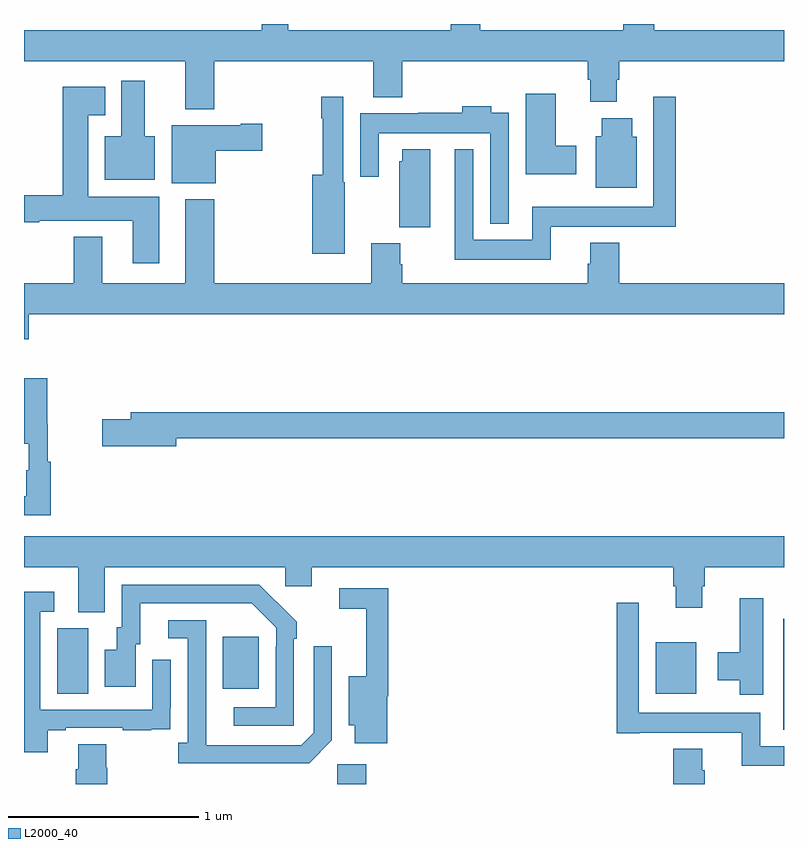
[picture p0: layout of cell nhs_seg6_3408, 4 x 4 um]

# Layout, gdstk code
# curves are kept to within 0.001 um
import gdstk
lib = gdstk.Library(unit=1e-6, precision=1e-09)
def R(c, l, rs):  # rectangles x0, y0, x1, y1
    for r in rs: c.add(gdstk.rectangle(r[:2], r[2:], *l))
def P(c, l, *ps):  # polygons
    for p in ps: c.add(gdstk.Polygon(p, *l))
L2000_40 = (2000, 40)

nhs_seg6_3408 = lib.new_cell('nhs_seg6_3408')
R(nhs_seg6_3408, L2000_40, [(312.648,975.5,312.8,975.604), (314.997,975.785,315,976.369), (314.324,975.974,314.539,976.246), (311.174,975.976,311.338,976.32), (312.047,976.001,312.235,976.276)])
P(nhs_seg6_3408, L2000_40, [(312.002,979.304),(312.839,979.304),(312.839,979.115),(312.992,979.115),(312.992,979.304),(313.967,979.304),(313.967,979.206),(313.979,979.206),(313.979,979.092),(314.119,979.092),(314.119,979.206),(314.132,979.206),(314.132,979.304),(315,979.304),(315,979.468),(314.318,979.468),(314.318,979.5),(314.153,979.5),(314.153,979.468),(313.4,979.468),(313.4,979.5),(313.247,979.5),(313.247,979.468),(312.391,979.468),(312.391,979.5),(312.252,979.5),(312.252,979.468),(311,979.468),(311,979.304),(311.849,979.304),(311.849,979.052),(312.002,979.052)],
  [(311.689,978.91),(311.635,978.91),(311.635,979.201),(311.513,979.201),(311.513,978.91),(311.426,978.91),(311.426,978.68),(311.689,978.68)],
  [(311.713,978.592),(311.338,978.592),(311.338,979.019),(311.428,979.019),(311.428,979.171),(311.204,979.171),(311.204,978.599),(311,978.599),(311,978.457),(311.08,978.457),(311.08,978.464),(311.573,978.464),(311.573,978.24),(311.713,978.24)],
  [(313.906,978.858),(313.798,978.858),(313.798,979.132),(313.64,979.132),(313.64,978.71),(313.906,978.71)],
  [(312.688,978.666),(312.681,978.666),(312.681,979.117),(312.565,979.117),(312.565,979.004),(312.573,979.004),(312.573,978.706),(312.518,978.706),(312.518,978.29),(312.688,978.29)],
  [(313.772,978.434),(314.306,978.434),(314.306,978.432),(314.429,978.432),(314.429,979.117),(314.313,979.117),(314.313,978.538),(313.674,978.538),(313.674,978.364),(313.365,978.364),(313.365,978.841),(313.268,978.841),(313.268,978.26),(313.772,978.26)],
  [(313.551,979.033),(313.459,979.033),(313.459,979.066),(313.307,979.066),(313.307,979.033),(313.075,979.033),(313.075,979.03),(312.771,979.03),(312.771,978.696),(312.867,978.696),(312.867,978.926),(313.455,978.926),(313.455,978.449),(313.551,978.449)],
  [(314.224,978.906),(314.2,978.906),(314.2,979.003),(314.042,979.003),(314.042,978.91),(314.009,978.91),(314.009,978.638),(314.224,978.638)],
  [(312.01,978.833),(312.253,978.833),(312.253,978.975),(312.14,978.975),(312.14,978.967),(311.777,978.967),(311.777,978.662),(312.01,978.662)],
  [(313.138,978.841),(312.992,978.841),(312.992,978.777),(312.974,978.777),(312.974,978.43),(313.138,978.43)],
  [(315,978.136),(314.132,978.136),(314.132,978.349),(313.979,978.349),(313.979,978.237),(313.967,978.237),(313.967,978.136),(312.992,978.136),(312.992,978.236),(312.979,978.236),(312.979,978.345),(312.827,978.345),(312.827,978.136),(312.002,978.136),(312.002,978.577),(311.849,978.577),(311.849,978.136),(311.413,978.136),(311.413,978.379),(311.261,978.379),(311.261,978.136),(311,978.136),(311,977.841),(311.024,977.841),(311.024,977.972),(315,977.972)],
  [(311.141,977.195),(311.126,977.195),(311.126,977.395),(311.122,977.395),(311.122,977.635),(311,977.635),(311,977.291),(311.024,977.291),(311.024,977.151),(311.013,977.151),(311.013,977.015),(311,977.015),(311,976.914),(311.141,976.914)],
  [(311.8,977.32),(315,977.32),(315,977.456),(311.561,977.456),(311.561,977.42),(311.412,977.42),(311.412,977.278),(311.8,977.278)],
  [(311.425,976.64),(312.375,976.64),(312.375,976.542),(312.514,976.542),(312.514,976.64),(314.417,976.64),(314.417,976.542),(314.429,976.542),(314.429,976.428),(314.569,976.428),(314.569,976.542),(314.582,976.542),(314.582,976.64),(315,976.64),(315,976.804),(311,976.804),(311,976.64),(311.285,976.64),(311.285,976.405),(311.425,976.405)],
  [(312.42,976.265),(312.435,976.265),(312.435,976.353),(312.238,976.548),(311.514,976.548),(311.514,976.326),(311.489,976.326),(311.489,976.207),(311.426,976.207),(311.426,976.011),(311.587,976.011),(311.587,976.236),(311.611,976.236),(311.611,976.452),(312.199,976.452),(312.327,976.323),(312.327,976.223),(312.324,976.223),(312.324,975.903),(312.105,975.903),(312.105,975.807),(312.42,975.807)],
  [(312.911,975.962),(312.917,975.962),(312.917,976.53),(312.66,976.53),(312.66,976.422),(312.8,976.422),(312.8,976.066),(312.71,976.066),(312.71,975.809),(312.74,975.809),(312.74,975.714),(312.911,975.714)],
  [(311.125,975.783),(311.221,975.783),(311.221,975.795),(311.521,975.795),(311.521,975.783),(311.669,975.783),(311.669,975.789),(311.771,975.789),(311.771,975.898),(311.772,975.898),(311.772,976.153),(311.676,976.153),(311.676,975.891),(311.085,975.891),(311.085,976.407),(311.158,976.407),(311.158,976.513),(311,976.513),(311,975.666),(311.125,975.666)],
  [(314.89,976.477),(314.768,976.477),(314.768,976.194),(314.651,976.194),(314.651,976.046),(314.768,976.046),(314.768,975.969),(314.89,975.969)],
  [(315,975.7),(314.874,975.7),(314.874,975.874),(314.235,975.874),(314.235,976.453),(314.119,976.453),(314.119,975.768),(314.242,975.768),(314.242,975.77),(314.777,975.77),(314.777,975.596),(315,975.596)],
  [(312.621,975.729),(312.621,976.225),(312.525,976.225),(312.525,975.771),(312.459,975.705),(311.959,975.705),(311.958,976.362),(311.76,976.362),(311.76,976.266),(311.862,976.266),(311.862,975.718),(311.811,975.718),(311.811,975.608),(312.5,975.608)],
  [(311.438,975.585),(311.433,975.585),(311.433,975.71),(311.285,975.71),(311.285,975.578),(311.273,975.578),(311.273,975.5),(311.438,975.5)],
  [(314.582,975.573),(314.569,975.573),(314.569,975.685),(314.417,975.685),(314.417,975.5),(314.582,975.5)])

lib.write_gds('nhs_seg6_3408.gds')
